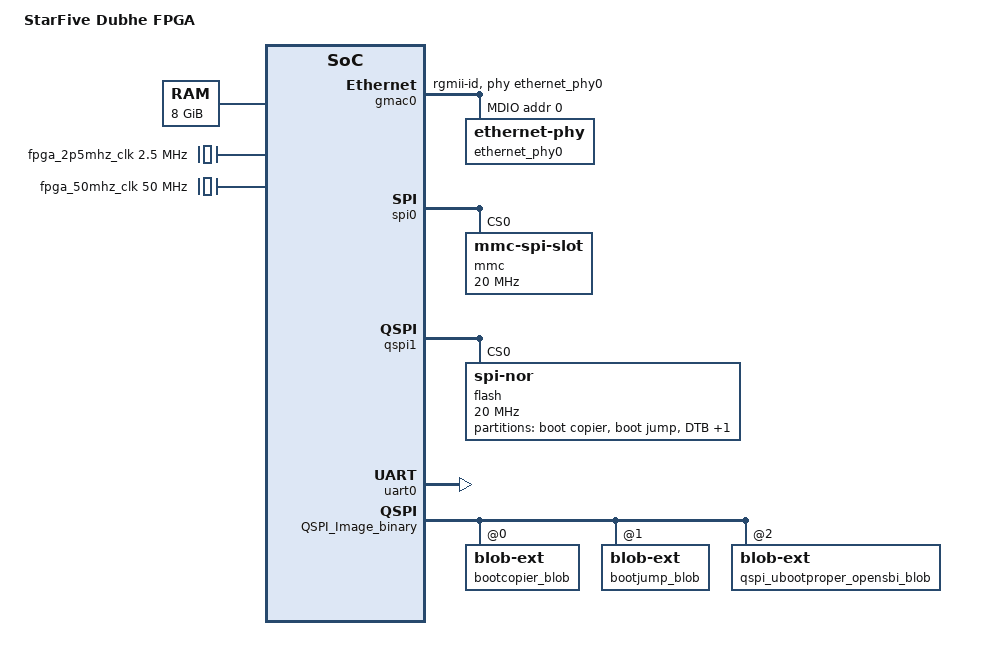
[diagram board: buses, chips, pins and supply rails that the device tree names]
// SPDX-License-Identifier: (GPL-2.0 OR MIT)
/* Copyright (c) 2021 StarFive Technology Co., Ltd. */

#include "dubhe.dtsi"
#include "binman.dtsi"
#include "dubhe-fpga-u-boot.dtsi"

/ {
	model = "StarFive Dubhe FPGA";

	aliases {
		serial0 = &uart0;
	};

	chosen {
		bootargs = "console=ttySIF0,115200 earlycon=sbi root=/dev/mmcblk0p2 rw rootfstype=ext4 rootwait";
	};

	cpus {
		timebase-frequency = <25000000>;

	};

	memory@80000000 {
		device_type = "memory";
		reg = <0x0 0x80000000 0x2 0x0>;
	};

	soc {
		fpga_2p5mhz_clk: fpga_2p5mhz_clk {
			compatible = "fixed-clock";
			#clock-cells = <0>;
			clock-frequency = <2500000>;
		};

		fpga_50mhz_clk: fpga_50mhz_clk {
			compatible = "fixed-clock";
			#clock-cells = <0>;
			clock-frequency = <50000000>;
		};
	};
};

&gmac0 {
	status = "okay";
	phy-mode = "rgmii-id";
	// clk_csr = <3>;
	// max-speed = <10>;
	phy-handle = <&ethernet_phy0>;
	clocks = <&fpga_2p5mhz_clk>,
		 <&fpga_2p5mhz_clk>,
		 <&fpga_2p5mhz_clk>,
		 <&fpga_50mhz_clk>,
		 <&fpga_50mhz_clk>,
		 <&fpga_2p5mhz_clk>;

	mdio0 {
		compatible = "snps,dwmac-mdio";
		#address-cells = <1>;
		#size-cells = <0>;
		ethernet_phy0: ethernet-phy@0 {
			reg = <0>;
			max-speed = <10>;
		};
	};
};

&spi0 {
	status = "okay";
	mmc@0 {
		compatible = "mmc-spi-slot";
		reg = <0>;
		spi-max-frequency = <20000000>;
		voltage-ranges = <3300 3300>;
		disable-wp;
	};
};

&qspi1 {
	status = "okay";

	flash@0 {
                compatible = "jedec,spi-nor";
                reg = <0>;
                spi-max-frequency = <20000000>;
                m25p,fast-read;
                spi-tx-bus-width = <1>;
                spi-rx-bus-width = <1>;

                partitions {
			compatible = "fixed-partitions";
			#address-cells = <1>;
			#size-cells = <1>;

			partition@0 {
				reg = <0x000000 0x1000>;
				label = "boot copier";
				/*read-only;*/
			};

			partition@1000 {
				reg = <0x1000 0x1000>;
				label = "boot jump";
				/*read-only;*/
			};

			partition@2000 {
				reg = <0x2000 0x2000>;
				label = "DTB";
			};

			partition@4000 {
				reg = <0x4000 0x7ffc000>;
				label = "FW_payload (OpenSBI and Linux)";
			};
		};
        };

};

&uart0 {
	status = "okay";
};

&binman {
	kernel_fit {
		filename = "kernel.itb";
		fit {
			description = "FIT with Linux kernel image and FDT";
			#address-cells = <1>;
			images {
				kernel {
					description = "Linux kernel";
					type = "kernel";
					arch = "riscv";
					os = "linux";
					compression = "none";
					load = <0x80200000>;
					entry = <0x80200000>;
					kernel_blob: blob-ext {
						filename = "Image";
					};
				};
				fdt_kernel {
					description = "Linux kernel device tree binary";
					type = "flat_dt";
					arch = "riscv";
					compression = "none";
					load = <0x88000000>;
					fdt_kernel_blob: blob-ext {
						filename = "dubhe_fpga_linux.dtb";
					};
				};
			};

			configurations {
				default = "conf";
				conf {
					description = "Starfive Dubhe FPGA";
					kernel = "kernel";
					fdt = "fdt_kernel";
				};
			};
		};
	};

	QSPI_Image_binary {
		filename = "QSPI-Image.bin";
		pad-byte = <0xff>;

		bootcopier_blob: blob-ext@0 {
			filename = "dubhe_fpga_bootcode.bin";
			offset = <0x0>;
		};

		bootjump_blob: blob-ext@1 {
			filename = "dubhe_fpga_bootjump.bin";
			offset = <0x1000>;
		};

		u-boot-spl {
			offset = <0x2000>;
		};

		qspi_ubootproper_opensbi_blob: blob-ext@2 {
			filename = "u-boot.itb";
			offset = <0x42000>;
		};
	};
};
